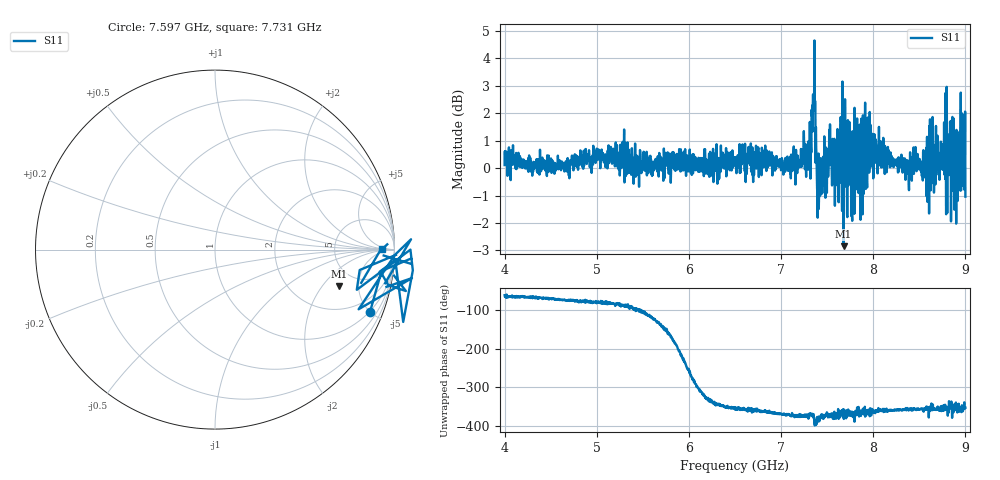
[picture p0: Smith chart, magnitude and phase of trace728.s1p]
! Created with skrf 1.8.0 (http://scikit-rf.org).
# Hz S RI R 50.0
!freq ReS11 ImS11
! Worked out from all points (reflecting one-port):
!   1601 points, 4 GHz to 9 GHz, reference 50 ohm
!   lowest |S11| = -2.8 dB at 7.678 GHz (marker M1), VSWR 6.16, Z = 176 - j149 ohm
!   phase of S11 starts at -61 deg and turns -292 deg over the sweep
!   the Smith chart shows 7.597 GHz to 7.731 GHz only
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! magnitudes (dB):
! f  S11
! 4 GHz  0.1
! 4.625 GHz  0.1
! 5.25 GHz  -0.3
! 5.875 GHz  0.3
! 6.5 GHz  0.1
! 7.125 GHz  0.2
! 7.294 GHz  -0.1
! 7.347 GHz  2.7
! 7.362 GHz  4.6
! 7.397 GHz  -1.8
! 7.412 GHz  -0.9
! 7.525 GHz  1.4
! 7.575 GHz  0.1
! 7.669 GHz  2.2
! 7.678 GHz  -2.8
! 7.75 GHz  0.0
! 7.784 GHz  0.2
! 7.891 GHz  0.7
! 7.909 GHz  1.7
! 8.088 GHz  0.0
! 8.375 GHz  -0.2
! 8.559 GHz  0.3
! 8.581 GHz  0.5
! 8.809 GHz  -0.2
! 8.906 GHz  0.2
! 8.959 GHz  2.0
! 8.972 GHz  1.0
! 9 GHz  -1.0
